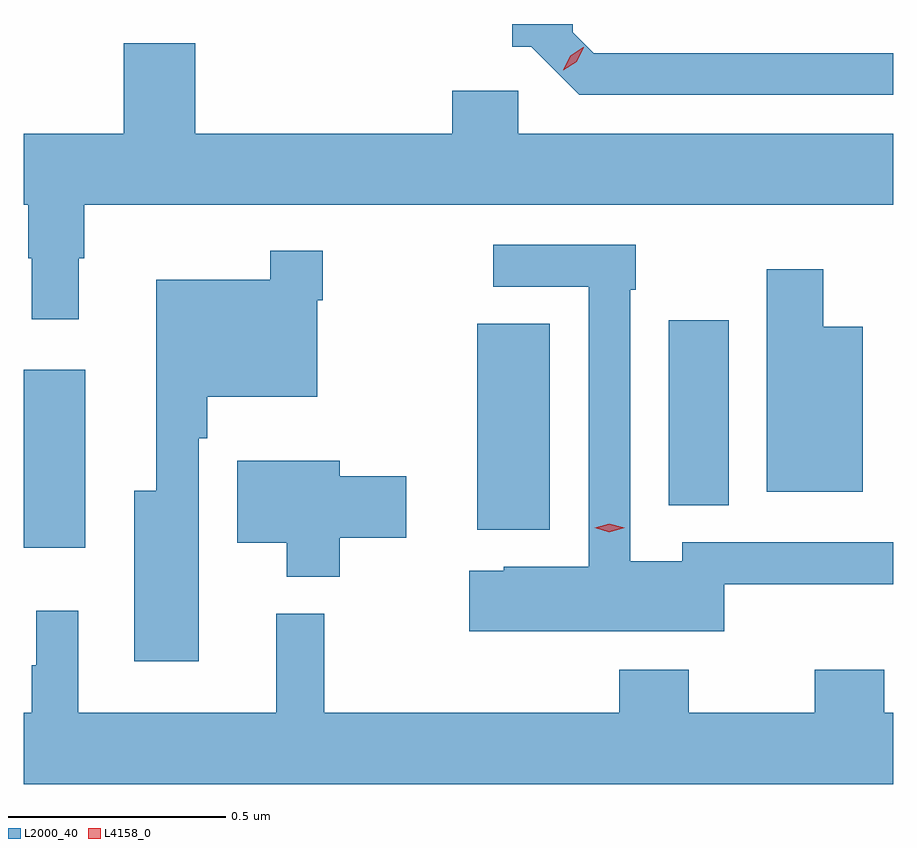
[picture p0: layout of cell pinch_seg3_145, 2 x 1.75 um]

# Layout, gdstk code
import gdstk
lib = gdstk.Library(unit=1e-6, precision=1e-09)
def R(c, l, rs):  # rectangles x0, y0, x1, y1
    for r in rs: c.add(gdstk.rectangle(r[:2], r[2:], *l))
def P(c, l, *ps):  # polygons
    for p in ps: c.add(gdstk.Polygon(p, *l))
L2000_40 = (2000, 40)
L4158_0 = (4158, 0)

pinch_seg3_145 = lib.new_cell('pinch_seg3_145')
R(pinch_seg3_145, L2000_40, [(1101.381,724.103,1101.523,724.513), (1102.424,724.145,1102.591,724.619), (1102.865,724.201,1103.002,724.627)])
P(pinch_seg3_145, L2000_40, [(1103.381,725.241),(1102.692,725.241),(1102.644,725.289),(1102.644,725.308),(1102.505,725.308),(1102.505,725.256),(1102.548,725.256),(1102.659,725.145),(1103.381,725.145)],
  [(1101.508,724.769),(1101.52,724.769),(1101.52,724.892),(1103.381,724.892),(1103.381,725.056),(1102.518,725.056),(1102.518,725.154),(1102.367,725.154),(1102.367,725.056),(1101.776,725.056),(1101.776,725.264),(1101.611,725.264),(1101.611,725.056),(1101.381,725.056),(1101.381,724.892),(1101.391,724.892),(1101.391,724.769),(1101.399,724.769),(1101.399,724.629),(1101.508,724.629)],
  [(1102.992,724.019),(1103.381,724.019),(1103.381,724.116),(1102.896,724.116),(1102.896,724.072),(1102.776,724.072),(1102.776,724.697),(1102.789,724.697),(1102.789,724.8),(1102.461,724.8),(1102.461,724.704),(1102.68,724.704),(1102.68,724.06),(1102.485,724.06),(1102.485,724.051),(1102.406,724.051),(1102.406,723.911),(1102.992,723.911)],
  [(1101.784,724.355),(1101.803,724.355),(1101.803,724.451),(1102.056,724.451),(1102.056,724.673),(1102.069,724.673),(1102.069,724.786),(1101.948,724.786),(1101.948,724.72),(1101.686,724.72),(1101.686,724.234),(1101.635,724.234),(1101.635,723.842),(1101.784,723.842)],
  [(1103.311,724.612),(1103.22,724.612),(1103.22,724.744),(1103.09,724.744),(1103.09,724.232),(1103.311,724.232)],
  [(1102.108,724.126),(1102.261,724.126),(1102.261,724.268),(1102.108,724.268),(1102.108,724.303),(1101.872,724.303),(1101.872,724.115),(1101.986,724.115),(1101.986,724.037),(1102.108,724.037)],
  [(1103.381,723.724),(1103.36,723.724),(1103.36,723.823),(1103.2,723.823),(1103.2,723.724),(1102.911,723.724),(1102.911,723.823),(1102.751,723.823),(1102.751,723.724),(1102.072,723.724),(1102.072,723.952),(1101.962,723.952),(1101.962,723.724),(1101.507,723.724),(1101.507,723.958),(1101.41,723.958),(1101.41,723.833),(1101.399,723.833),(1101.399,723.724),(1101.381,723.724),(1101.381,723.56),(1103.381,723.56)])
P(pinch_seg3_145, L4158_0, [(1102.728,724.139),(1102.694,724.149),(1102.693,724.149),(1102.694,724.149),(1102.728,724.159),(1102.763,724.149),(1102.763,724.149),(1102.763,724.149)],
  [(1102.622,725.202),(1102.622,725.202),(1102.638,725.235),(1102.668,725.254),(1102.669,725.254),(1102.669,725.254),(1102.653,725.221),(1102.622,725.202)])

lib.write_gds('pinch_seg3_145.gds')
